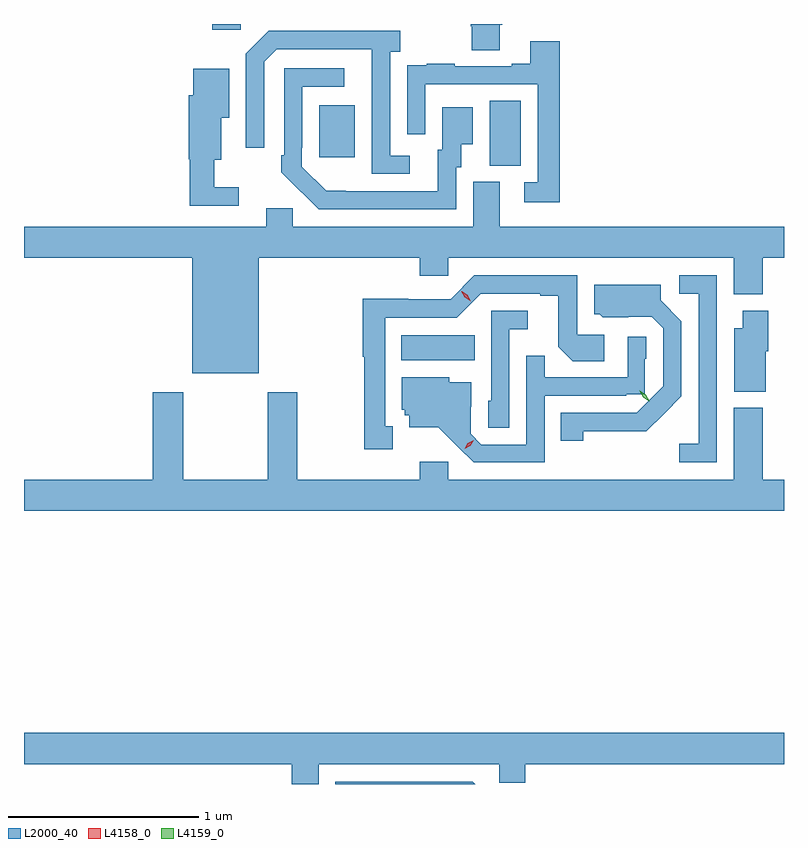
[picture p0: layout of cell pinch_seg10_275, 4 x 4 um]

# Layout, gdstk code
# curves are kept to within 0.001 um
import gdstk
lib = gdstk.Library(unit=1e-6, precision=1e-09)
def R(c, l, rs):  # rectangles x0, y0, x1, y1
    for r in rs: c.add(gdstk.rectangle(r[:2], r[2:], *l))
def P(c, l, *ps):  # polygons
    for p in ps: c.add(gdstk.Polygon(p, *l))
L2000_40 = (2000, 40)
L4158_0 = (4158, 0)
L4159_0 = (4159, 0)

pinch_seg10_275 = lib.new_cell('pinch_seg10_275')
R(pinch_seg10_275, L2000_40, [(497.231,1309.1,497.618,1309.234), (497.696,1310.125,497.86,1310.468), (496.799,1310.169,496.987,1310.443), (496.235,1310.841,496.386,1310.871)])
P(pinch_seg10_275, L2000_40, [(497.749,1310.866),(497.762,1310.866),(497.762,1310.871),(497.597,1310.871),(497.597,1310.859),(497.602,1310.859),(497.602,1310.734),(497.749,1310.734)],
  [(497.275,1310.178),(497.172,1310.178),(497.172,1310.726),(497.224,1310.726),(497.224,1310.836),(496.534,1310.836),(496.413,1310.715),(496.413,1310.22),(496.509,1310.22),(496.509,1310.673),(496.575,1310.739),(497.075,1310.739),(497.076,1310.082),(497.275,1310.082)],
  [(498.065,1310.779),(497.909,1310.779),(497.909,1310.662),(497.813,1310.662),(497.813,1310.649),(497.513,1310.649),(497.513,1310.662),(497.365,1310.662),(497.365,1310.655),(497.263,1310.655),(497.263,1310.546),(497.262,1310.546),(497.262,1310.292),(497.358,1310.292),(497.358,1310.553),(497.949,1310.553),(497.949,1310.037),(497.877,1310.037),(497.877,1309.932),(498.065,1309.932)],
  [(497.52,1310.118),(497.545,1310.118),(497.545,1310.237),(497.608,1310.237),(497.608,1310.434),(497.447,1310.434),(497.447,1310.208),(497.423,1310.208),(497.423,1309.992),(496.836,1309.993),(496.707,1310.121),(496.707,1310.221),(496.71,1310.221),(496.71,1310.541),(496.93,1310.541),(496.93,1310.637),(496.614,1310.637),(496.614,1310.179),(496.599,1310.179),(496.599,1310.091),(496.796,1309.896),(497.52,1309.896)],
  [(496.375,1310.011),(496.246,1310.011),(496.246,1310.156),(496.282,1310.156),(496.282,1310.378),(496.324,1310.378),(496.324,1310.635),(496.136,1310.635),(496.136,1310.496),(496.112,1310.496),(496.112,1310.16),(496.117,1310.16),(496.117,1309.914),(496.375,1309.914)],
  [(496.48,1309.64),(497.327,1309.64),(497.327,1309.547),(497.478,1309.547),(497.478,1309.64),(498.98,1309.64),(498.98,1309.448),(499.133,1309.448),(499.133,1309.64),(499.245,1309.64),(499.245,1309.804),(497.749,1309.804),(497.749,1310.04),(497.609,1310.04),(497.609,1309.804),(496.659,1309.804),(496.659,1309.902),(496.52,1309.902),(496.52,1309.804),(495.245,1309.804),(495.245,1309.64),(496.13,1309.64),(496.13,1309.034),(496.48,1309.034)],
  [(498.891,1309.548),(498.693,1309.548),(498.693,1309.452),(498.795,1309.452),(498.795,1308.661),(498.693,1308.661),(498.693,1308.564),(498.891,1308.564)],
  [(497.185,1308.753),(497.146,1308.753),(497.146,1309.326),(497.523,1309.326),(497.649,1309.452),(497.963,1309.452),(497.963,1309.44),(498.057,1309.44),(498.057,1309.172),(498.133,1309.096),(498.298,1309.096),(498.298,1309.236),(498.156,1309.236),(498.156,1309.548),(497.616,1309.548),(497.49,1309.422),(497.268,1309.422),(497.268,1309.424),(497.028,1309.424),(497.028,1309.119),(497.035,1309.119),(497.035,1308.633),(497.185,1308.633)],
  [(498.189,1308.727),(498.521,1308.727),(498.705,1308.912),(498.705,1309.306),(498.595,1309.416),(498.595,1309.498),(498.245,1309.498),(498.245,1309.344),(498.276,1309.344),(498.292,1309.328),(498.549,1309.329),(498.609,1309.269),(498.609,1308.965),(498.469,1308.825),(498.07,1308.825),(498.07,1308.678),(498.189,1308.678)],
  [(499.15,1309.149),(499.163,1309.149),(499.163,1309.363),(499.028,1309.363),(499.028,1309.27),(498.983,1309.27),(498.983,1308.935),(499.15,1308.935)],
  [(497.799,1309.265),(497.896,1309.265),(497.896,1309.362),(497.703,1309.362),(497.703,1308.888),(497.688,1308.888),(497.688,1308.745),(497.799,1308.745)],
  [(497.985,1308.915),(498.416,1308.915),(498.416,1308.923),(498.512,1308.923),(498.512,1309.108),(498.519,1309.108),(498.519,1309.225),(498.422,1309.225),(498.422,1309.011),(497.987,1309.011),(497.987,1309.124),(497.889,1309.124),(497.889,1308.657),(497.652,1308.657),(497.595,1308.714),(497.595,1308.856),(497.599,1308.856),(497.599,1308.985),(497.484,1308.985),(497.484,1309.012),(497.234,1309.012),(497.234,1308.84),(497.25,1308.84),(497.25,1308.813),(497.273,1308.813),(497.273,1308.749),(497.425,1308.749),(497.612,1308.564),(497.985,1308.564)],
  [(495.923,1308.934),(495.923,1308.472),(495.245,1308.472),(495.245,1308.308),(499.245,1308.308),(499.245,1308.472),(499.133,1308.472),(499.133,1308.85),(498.98,1308.85),(498.98,1308.472),(497.478,1308.472),(497.478,1308.568),(497.327,1308.568),(497.327,1308.472),(496.683,1308.472),(496.683,1308.934),(496.528,1308.934),(496.528,1308.472),(496.083,1308.472),(496.083,1308.934)],
  [(496.795,1306.976),(497.745,1306.976),(497.745,1306.878),(497.884,1306.878),(497.884,1306.976),(499.245,1306.976),(499.245,1307.14),(495.245,1307.14),(495.245,1306.976),(496.655,1306.976),(496.655,1306.871),(496.795,1306.871)],
  [(497.608,1306.884),(496.884,1306.884),(496.884,1306.871),(497.621,1306.871)])
P(pinch_seg10_275, L4158_0, [(497.564,1308.636),(497.564,1308.636),(497.581,1308.665),(497.611,1308.681),(497.612,1308.681),(497.612,1308.68),(497.594,1308.651),(497.564,1308.636)],
  [(497.597,1309.413),(497.565,1309.432),(497.547,1309.464),(497.547,1309.465),(497.548,1309.465),(497.579,1309.446),(497.597,1309.413),(497.597,1309.413)])
P(pinch_seg10_275, L4159_0, [(498.538,1308.884),(498.503,1308.907),(498.482,1308.944),(498.482,1308.944),(498.482,1308.944),(498.517,1308.921),(498.538,1308.884),(498.538,1308.884)])

lib.write_gds('pinch_seg10_275.gds')
